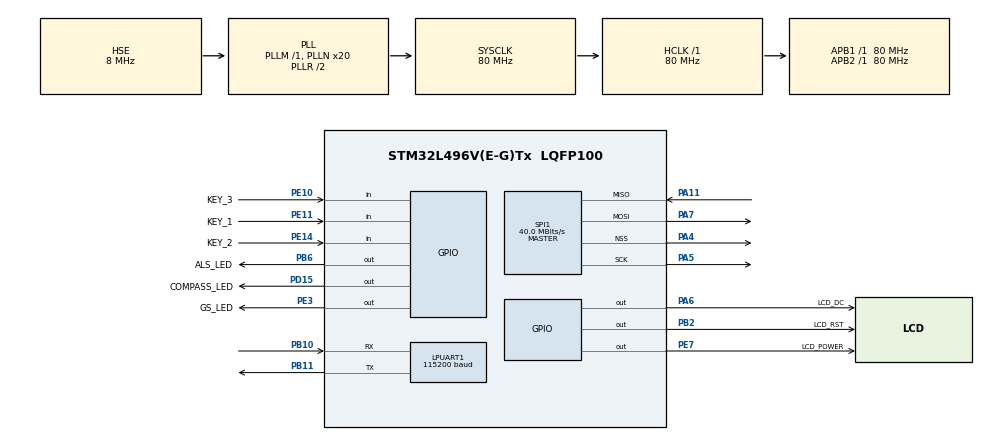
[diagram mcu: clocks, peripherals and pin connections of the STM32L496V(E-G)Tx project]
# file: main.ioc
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LPUART1.BaudRate=115200
LPUART1.WordLength=UART_WORDLENGTH_8B
Mcu.Family=STM32L4
Mcu.Name=STM32L496V(E-G)Tx
Mcu.Package=LQFP100
NVIC.PriorityGroup=NVIC_PRIORITYGROUP_4
PA11.Mode=Full_Duplex_Master
PA11.Signal=SPI1_MISO
PA13\ (JTMS/SWDIO).Mode=Serial_Wire
PA13\ (JTMS/SWDIO).Signal=SYS_JTMS-SWDIO
PA14\ (JTCK/SWCLK).Mode=Serial_Wire
PA14\ (JTCK/SWCLK).Signal=SYS_JTCK-SWCLK
PA4.Mode=NSS_Signal_Hard_Output
PA4.Signal=SPI1_NSS
PA5.Mode=Full_Duplex_Master
PA5.Signal=SPI1_SCK
PA6.GPIO_Label=LCD_DC
PA6.GPIO_Speed=GPIO_SPEED_FREQ_VERY_HIGH
PA6.Signal=GPIO_Output
PA7.Mode=Full_Duplex_Master
PA7.Signal=SPI1_MOSI
PB10.Mode=Asynchronous
PB10.Signal=LPUART1_RX
PB11.Mode=Asynchronous
PB11.Signal=LPUART1_TX
PB2.GPIO_Label=LCD_RST
PB2.GPIO_Speed=GPIO_SPEED_FREQ_VERY_HIGH
PB2.Signal=GPIO_Output
PB6.GPIO_Label=ALS_LED
PB6.GPIO_Speed=GPIO_SPEED_FREQ_VERY_HIGH
PB6.Signal=GPIO_Output
PD15.GPIO_Label=COMPASS_LED
PD15.GPIO_Speed=GPIO_SPEED_FREQ_VERY_HIGH
PD15.Signal=GPIO_Output
PE10.GPIO_Label=KEY_3
PE10.GPIO_PuPd=GPIO_PULLUP
PE10.Signal=GPIO_Input
PE11.GPIO_Label=KEY_1
PE11.GPIO_PuPd=GPIO_PULLUP
PE11.Signal=GPIO_Input
PE14.GPIO_Label=KEY_2
PE14.GPIO_PuPd=GPIO_PULLUP
PE14.Signal=GPIO_Input
PE3.GPIO_Label=GS_LED
PE3.GPIO_Speed=GPIO_SPEED_FREQ_VERY_HIGH
PE3.Signal=GPIO_Output
PE7.GPIO_Label=LCD_POWER
PE7.GPIO_Speed=GPIO_SPEED_FREQ_VERY_HIGH
PE7.Signal=GPIO_Output
PH0-OSC_IN\ (PH0).Mode=HSE-External-Oscillator
PH0-OSC_IN\ (PH0).Signal=RCC_OSC_IN
PH1-OSC_OUT\ (PH1).Mode=HSE-External-Oscillator
PH1-OSC_OUT\ (PH1).Signal=RCC_OSC_OUT
ProjectManager.HeapSize=0x200
ProjectManager.StackSize=0x400
ProjectManager.TargetToolchain=MDK-ARM V5
RCC.ADCFreq_Value=48000000
RCC.AHBFreq_Value=80000000
RCC.APB1Freq_Value=80000000
RCC.APB1TimFreq_Value=80000000
RCC.APB2Freq_Value=80000000
RCC.APB2TimFreq_Value=80000000
RCC.CortexFreq_Value=80000000
RCC.HCLKFreq_Value=80000000
RCC.HSE_VALUE=8000000
RCC.HSI48_VALUE=48000000
RCC.HSI_VALUE=16000000
RCC.LSE_VALUE=32768
RCC.MSI_VALUE=4000000
RCC.PLLN=20
RCC.PLLSAI1N=12
RCC.PLLSourceVirtual=RCC_PLLSOURCE_HSE
RCC.SYSCLKFreq_VALUE=80000000
RCC.SYSCLKSource=RCC_SYSCLKSOURCE_PLLCLK
RCC.USBFreq_Value=48000000
RCC.VCOOutputFreq_Value=160000000
SPI1.CalculateBaudRate=40.0 MBits/s
SPI1.DataSize=SPI_DATASIZE_8BIT
SPI1.Direction=SPI_DIRECTION_2LINES
SPI1.Mode=SPI_MODE_MASTER
SPI1.VirtualNSS=VM_NSSHARD
SPI1.VirtualType=VM_MASTER
board=custom

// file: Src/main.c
/* USER CODE BEGIN Header */
/**
  ******************************************************************************
  * @file           : main.c
  * @brief          : Main program body
  ******************************************************************************
  * @attention
  *
  * <h2><center>&copy; Copyright (c) 2021 STMicroelectronics.
  * All rights reserved.</center></h2>
  *
  * This software component is licensed by ST under BSD 3-Clause license,
  * the "License"; You may not use this file except in compliance with the
  * License. You may obtain a copy of the License at:
  *                        opensource.org/licenses/BSD-3-Clause
  *
  ******************************************************************************
  */
/* USER CODE END Header */
#include "main.h"
#include "usart.h"
#include "spi.h"
#include "gpio.h"

void SystemClock_Config(void);

int main(void)
{

  /* MCU Configuration--------------------------------------------------------*/

  /* Reset of all peripherals, Initializes the Flash interface and the Systick. */
  HAL_Init();

  /* Configure the system clock */
  SystemClock_Config();

  /* Initialize all configured peripherals */
  MX_GPIO_Init();
  MX_LPUART1_UART_Init();
  MX_SPI1_Init();
  /* USER CODE BEGIN 2 */
  HAL_GPIO_WritePin(GS_LED_GPIO_Port, GS_LED_Pin, GPIO_PIN_SET);
  HAL_GPIO_WritePin(COMPASS_LED_GPIO_Port, COMPASS_LED_Pin, GPIO_PIN_SET);
  HAL_GPIO_WritePin(ALS_LED_GPIO_Port, ALS_LED_Pin, GPIO_PIN_SET);
	st7789_init();
	st7789_display_picture();
  /* USER CODE END 2 */

  /* Infinite loop */
  while (1)
  {

    /* USER CODE BEGIN 3 */
		if(HAL_GPIO_ReadPin(KEY_1_GPIO_Port,KEY_1_Pin) == GPIO_PIN_RESET)
		{
			HAL_Delay(50);
			if(HAL_GPIO_ReadPin(KEY_1_GPIO_Port,KEY_1_Pin) == GPIO_PIN_RESET)
			{
				HAL_Delay(50);
				HAL_GPIO_TogglePin(GS_LED_GPIO_Port,GS_LED_Pin);
			}
		}

		if(HAL_GPIO_ReadPin(KEY_2_GPIO_Port,KEY_2_Pin) == GPIO_PIN_RESET)
		{
			HAL_Delay(50);
			if(HAL_GPIO_ReadPin(KEY_2_GPIO_Port,KEY_2_Pin) == GPIO_PIN_RESET)
			{
				HAL_Delay(50);
				HAL_GPIO_TogglePin(ALS_LED_GPIO_Port,ALS_LED_Pin);

			}
		}

		if(HAL_GPIO_ReadPin(KEY_3_GPIO_Port,KEY_3_Pin) == GPIO_PIN_RESET)
		{
			HAL_Delay(50);
			if(HAL_GPIO_ReadPin(KEY_3_GPIO_Port,KEY_3_Pin) == GPIO_PIN_RESET)
			{
				HAL_Delay(50);
				HAL_GPIO_TogglePin(COMPASS_LED_GPIO_Port,COMPASS_LED_Pin);
			}
		}
  }
  /* USER CODE END 3 */
}

void SystemClock_Config(void)
{
  RCC_OscInitTypeDef RCC_OscInitStruct = {0};
  RCC_ClkInitTypeDef RCC_ClkInitStruct = {0};
  RCC_PeriphCLKInitTypeDef PeriphClkInit = {0};

  /** Initializes the RCC Oscillators according to the specified parameters
  * in the RCC_OscInitTypeDef structure.
  */
  RCC_OscInitStruct.OscillatorType = RCC_OSCILLATORTYPE_HSE;
  RCC_OscInitStruct.HSEState = RCC_HSE_ON;
  RCC_OscInitStruct.PLL.PLLState = RCC_PLL_ON;
  RCC_OscInitStruct.PLL.PLLSource = RCC_PLLSOURCE_HSE;
  RCC_OscInitStruct.PLL.PLLM = 1;
  RCC_OscInitStruct.PLL.PLLN = 20;
  RCC_OscInitStruct.PLL.PLLP = RCC_PLLP_DIV2;
  RCC_OscInitStruct.PLL.PLLQ = RCC_PLLQ_DIV2;
  RCC_OscInitStruct.PLL.PLLR = RCC_PLLR_DIV2;
  if (HAL_RCC_OscConfig(&RCC_OscInitStruct) != HAL_OK)
  {
    Error_Handler();
  }
  /** Initializes the CPU, AHB and APB buses clocks
  */
  RCC_ClkInitStruct.ClockType = RCC_CLOCKTYPE_HCLK|RCC_CLOCKTYPE_SYSCLK
                              |RCC_CLOCKTYPE_PCLK1|RCC_CLOCKTYPE_PCLK2;
  RCC_ClkInitStruct.SYSCLKSource = RCC_SYSCLKSOURCE_PLLCLK;
  RCC_ClkInitStruct.AHBCLKDivider = RCC_SYSCLK_DIV1;
  RCC_ClkInitStruct.APB1CLKDivider = RCC_HCLK_DIV1;
  RCC_ClkInitStruct.APB2CLKDivider = RCC_HCLK_DIV1;

  if (HAL_RCC_ClockConfig(&RCC_ClkInitStruct, FLASH_LATENCY_4) != HAL_OK)
  {
    Error_Handler();
  }
  PeriphClkInit.PeriphClockSelection = RCC_PERIPHCLK_LPUART1;
  PeriphClkInit.Lpuart1ClockSelection = RCC_LPUART1CLKSOURCE_PCLK1;
  if (HAL_RCCEx_PeriphCLKConfig(&PeriphClkInit) != HAL_OK)
  {
    Error_Handler();
  }
  /** Configure the main internal regulator output voltage
  */
  if (HAL_PWREx_ControlVoltageScaling(PWR_REGULATOR_VOLTAGE_SCALE1) != HAL_OK)
  {
    Error_Handler();
  }
}

void Error_Handler(void)
{
  __disable_irq();
  while (1)
  {
  }
}

/************************ (C) COPYRIGHT STMicroelectronics *****END OF FILE****/
